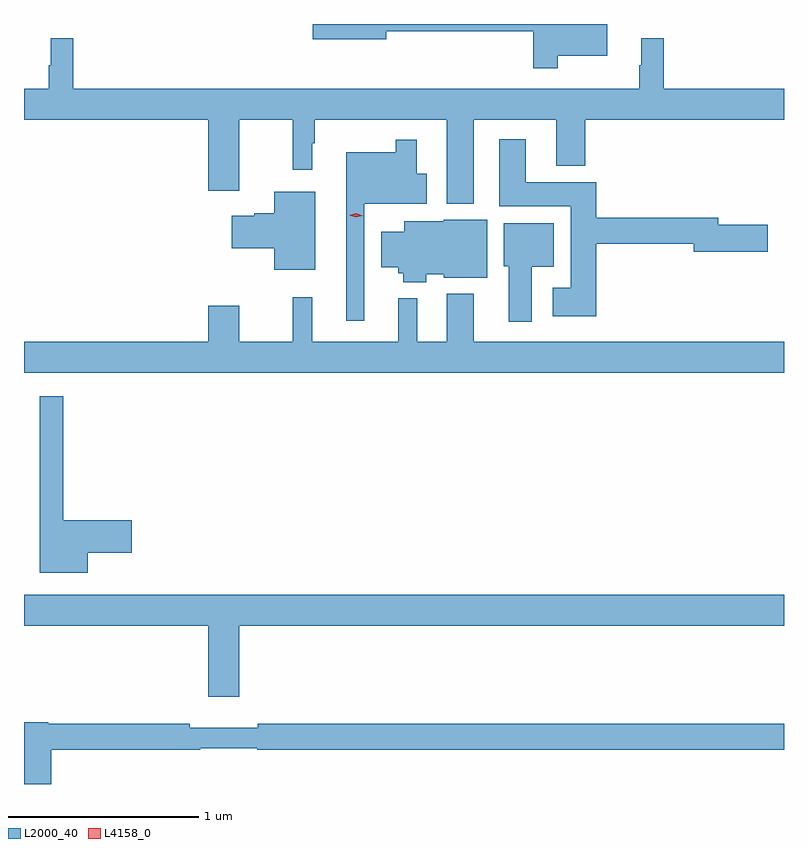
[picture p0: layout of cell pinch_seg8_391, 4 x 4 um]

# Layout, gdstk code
import gdstk
lib = gdstk.Library(unit=1e-6, precision=1e-09)
def P(c, l, *ps):  # polygons
    for p in ps: c.add(gdstk.Polygon(p, *l))
L2000_40 = (2000, 40)
L4158_0 = (4158, 0)

pinch_seg8_391 = lib.new_cell('pinch_seg8_391')
P(pinch_seg8_391, L2000_40, [(562.453,1092.86),(562.714,1092.86),(562.714,1093.028),(561.162,1093.028),(561.162,1092.947),(561.55,1092.947),(561.55,1092.99),(562.324,1092.99),(562.324,1092.795),(562.453,1092.795)],
  [(562.009,1092.524),(562.445,1092.524),(562.445,1092.281),(562.598,1092.281),(562.598,1092.524),(563.643,1092.524),(563.643,1092.688),(563.009,1092.688),(563.009,1092.952),(562.892,1092.952),(562.892,1092.812),(562.881,1092.812),(562.881,1092.688),(559.901,1092.688),(559.901,1092.952),(559.784,1092.952),(559.784,1092.812),(559.773,1092.812),(559.773,1092.688),(559.643,1092.688),(559.643,1092.524),(560.612,1092.524),(560.612,1092.15),(560.776,1092.15),(560.776,1092.524),(561.058,1092.524),(561.058,1092.261),(561.16,1092.261),(561.16,1092.401),(561.172,1092.401),(561.172,1092.524),(561.869,1092.524),(561.869,1092.083),(562.009,1092.083)],
  [(562.655,1091.872),(563.168,1091.872),(563.168,1091.83),(563.557,1091.83),(563.557,1091.972),(563.296,1091.972),(563.296,1092.008),(562.655,1092.008),(562.655,1092.196),(562.285,1092.196),(562.285,1092.421),(562.145,1092.421),(562.145,1092.068),(562.52,1092.068),(562.52,1091.641),(562.425,1091.641),(562.425,1091.489),(562.655,1091.489)],
  [(561.435,1092.083),(561.763,1092.083),(561.763,1092.241),(561.709,1092.241),(561.709,1092.418),(561.6,1092.418),(561.6,1092.352),(561.338,1092.352),(561.338,1091.466),(561.435,1091.466)],
  [(561.175,1092.145),(560.96,1092.145),(560.96,1092.032),(560.856,1092.032),(560.856,1092.019),(560.736,1092.019),(560.736,1091.849),(560.96,1091.849),(560.96,1091.735),(561.175,1091.735)],
  [(561.76,1091.711),(561.852,1091.711),(561.852,1091.693),(562.081,1091.693),(562.081,1091.998),(561.852,1091.998),(561.852,1091.989),(561.644,1091.989),(561.644,1091.935),(561.524,1091.935),(561.524,1091.747),(561.614,1091.747),(561.614,1091.715),(561.638,1091.715),(561.638,1091.669),(561.76,1091.669)],
  [(562.315,1091.75),(562.432,1091.75),(562.432,1091.98),(562.169,1091.98),(562.169,1091.754),(562.193,1091.754),(562.193,1091.46),(562.315,1091.46)],
  [(563.643,1091.356),(562.009,1091.356),(562.009,1091.608),(561.869,1091.608),(561.869,1091.356),(561.712,1091.356),(561.712,1091.584),(561.614,1091.584),(561.614,1091.356),(561.161,1091.356),(561.161,1091.59),(561.058,1091.59),(561.058,1091.356),(560.776,1091.356),(560.776,1091.545),(560.612,1091.545),(560.612,1091.356),(559.643,1091.356),(559.643,1091.192),(563.643,1091.192)],
  [(559.978,1090.244),(560.209,1090.244),(560.209,1090.415),(559.849,1090.415),(559.849,1091.068),(559.727,1091.068),(559.727,1090.139),(559.978,1090.139)],
  [(560.776,1089.86),(563.643,1089.86),(563.643,1090.024),(559.643,1090.024),(559.643,1089.86),(560.612,1089.86),(560.612,1089.486),(560.776,1089.486)],
  [(559.787,1089.208),(560.57,1089.208),(560.57,1089.216),(560.87,1089.216),(560.87,1089.208),(563.643,1089.208),(563.643,1089.344),(560.872,1089.344),(560.872,1089.325),(560.516,1089.325),(560.516,1089.344),(559.77,1089.344),(559.77,1089.352),(559.643,1089.352),(559.643,1089.028),(559.787,1089.028)])
P(pinch_seg8_391, L4158_0, [(561.389,1092.011),(561.354,1092.022),(561.353,1092.022),(561.354,1092.022),(561.389,1092.031),(561.425,1092.019),(561.425,1092.019),(561.425,1092.019)])

lib.write_gds('pinch_seg8_391.gds')
